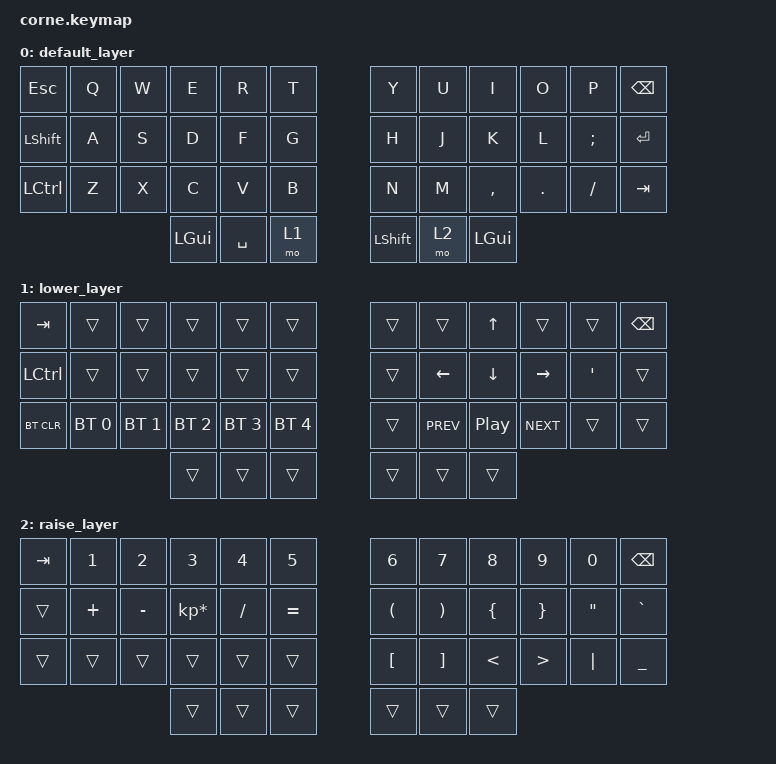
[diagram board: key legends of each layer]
/*
 * Copyright (c) 2020 The ZMK Contributors
 *
 * SPDX-License-Identifier: MIT
 */

#include <behaviors.dtsi>
#include <dt-bindings/zmk/keys.h>
#include <dt-bindings/zmk/bt.h>
#include <dt-bindings/zmk/rgb.h>

/ {
    keymap {
        compatible = "zmk,keymap";

        default_layer {
            // -----------------------------------------------------------------------------------------
            // |  TAB |  Q  |  W  |  E  |  R  |  T  |   |  Y  |  U   |  I  |  O  |  P  | BKSP |
            // | CTRL |  A  |  S  |  D  |  F  |  G  |   |  H  |  J   |  K  |  L  |  ;  |  '   |
            // | SHFT |  Z  |  X  |  C  |  V  |  B  |   |  N  |  M   |  ,  |  .  |  /  | ESC  |
            //                    | GUI | LWR | SPC |   | ENT | RSE  | ALT |

            bindings = <
  &kp ESC  &kp Q  &kp W     &kp E  &kp R      &kp T      &kp Y  &kp U      &kp I    &kp O     &kp P  &kp BKSP
&kp LSHFT  &kp A  &kp S     &kp D  &kp F      &kp G      &kp H  &kp J      &kp K    &kp L  &kp SEMI   &kp ENTER
&kp LCTRL  &kp Z  &kp X     &kp C  &kp V      &kp B      &kp N  &kp M  &kp COMMA  &kp DOT  &kp FSLH   &kp TAB
                         &kp LGUI  &kp SPACE  &mo 1    &kp LSHFT  &mo 2   &kp LGUI
            >;
        };

        lower_layer {
            // -----------------------------------------------------------------------------------------
            // |  TAB |  !  |  @  |  #  |  $  |  %  |   |  ^  |  &  |  *  |  (  |  )  | BKSP |
            // | CTRL |     |     |     |     |     |   |  -  |  =  |  [  |  ]  |  \  |  `   |
            // | SHFT |     |     |     |     |     |   |  _  |  +  |  {  |  }  | "|" |  ~   |
            //                    | GUI |     | SPC |   | ENT |     | ALT |

            bindings = <
  &kp TAB   &trans    &trans     &trans   &trans  &trans           &trans   &trans  &kp UP       &trans           &trans  &kp BACKSPACE
&kp LCTRL    &trans  &trans    &trans    &trans     &trans    &trans  &kp LEFT         &kp DOWN      &kp RIGHT  &kp SINGLE_QUOTE        &trans
&bt BT_CLR  &bt BT_SEL 0  &bt BT_SEL 1  &bt BT_SEL 2  &bt BT_SEL 3  &bt BT_SEL 4    &trans    &kp C_PREV    &kp C_PP    &kp C_NEXT   &trans    &trans
                             &trans    &trans     &trans   &trans  &trans           &trans
            >;
        };

        raise_layer {
            // -----------------------------------------------------------------------------------------
            // |  TAB |  1  |  2  |  3  |  4  |  5  |   |  6  |  7  |  8  |  9  |  0  | BKSP |
            // | BTCLR| BT1 | BT2 | BT3 | BT4 | BT5 |   | LFT | DWN |  UP | RGT |     |      |
            // | SHFT |     |     |     |     |     |   |     |     |     |     |     |      |
            //                    | GUI |     | SPC |   | ENT |     | ALT |
            bindings = <
   &kp TAB        &kp N1        &kp N2        &kp N3        &kp N4             &kp N5           &kp N6           &kp N7           &kp N8         &kp N9            &kp N0  &kp BACKSPACE
&trans  &kp PLUS  &kp MINUS  &kp KP_MULTIPLY  &kp SLASH  &kp EQUAL  &kp LPAR  &kp RPAR    &kp LBRC  &kp RBRC  &kp DOUBLE_QUOTES  &kp GRAVE
  &trans  &trans  &trans  &trans  &trans  &trans      &kp LBKT  &kp RBKT    &kp LT    &kp GT           &kp PIPE     &kp UNDERSCORE
                                            &trans        &trans  &trans           &trans      &trans  &trans

            >;
        };
    };
};
